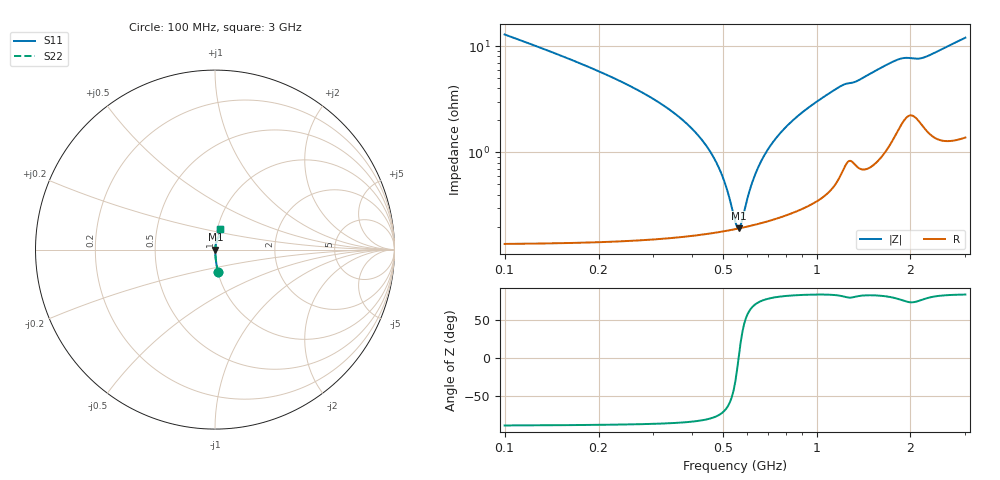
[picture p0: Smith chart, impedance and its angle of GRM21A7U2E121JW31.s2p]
!Murata Part Number: GRM21A7U2E121JW31
!These Parameters are Measured in Series Mode Connection
!Data Generated on Mar 30, 2021
!  o--ll--o
!Port1  Port2
!  o------o
!Operation Temp=25[degC], DC Bias Voltage=0[V]
!Freq. Start=100[MHz] Stop=3[GHz] 401[Steps]
# Hz S RI R 50
!Freq.(Hz) S11(Real) S11(Imag) S21(Real) S21(Imag) S12(Real) S12(Imag) S22(Real) S22(Imag)
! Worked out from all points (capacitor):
!   401 points, 100 MHz to 3 GHz, reference 50 ohm
!   read as one part in series: C = 120 pF near 114.5 MHz
!   lowest |Z| = 193 mohm at 564 MHz (marker M1)
!   series resonance near 562.5 MHz, so ESL is about 670 pH
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1e8  0.0175 -0.126  0.9825 0.126  0.9825 0.126  0.0175 -0.126
2.16e8  0.00417 -0.0521  0.9958 0.0521  0.9958 0.0521  0.00417 -0.0521
3.61e8  0.00205 -0.0216  0.9979 0.0216  0.9979 0.0216  0.00205 -0.0216
4.335e8  0.00184 -0.0124  0.9982 0.0124  0.9982 0.0124  0.00184 -0.0124
4.915e8  0.00182 -0.0064  0.9982 0.0064  0.9982 0.0064  0.00182 -0.0064
5.1325e8  0.00184 -0.00434  0.9982 0.00434  0.9982 0.00434  0.00184 -0.00434
5.495e8  0.00189 -0.00111  0.9981 0.00111  0.9981 0.00111  0.00189 -0.00111
5.64e8  0.00192 0.000123  0.9981 -0.000123  0.9981 -0.000123  0.00192 0.000123
5.8575e8  0.00197 0.00192  0.998 -0.00192  0.998 -0.00192  0.00197 0.00192
6.1475e8  0.00205 0.00422  0.9979 -0.00422  0.9979 -0.00422  0.00205 0.00422
6.4375e8  0.00214 0.00642  0.9979 -0.00642  0.9979 -0.00642  0.00214 0.00642
6.8e8  0.00228 0.00907  0.9977 -0.00907  0.9977 -0.00907  0.00228 0.00907
7.3075e8  0.00249 0.0126  0.9975 -0.0126  0.9975 -0.0126  0.00249 0.0126
8.685e8  0.00326 0.0215  0.9967 -0.0215  0.9967 -0.0215  0.00326 0.0215
1.0715e9  0.00512 0.0338  0.9949 -0.0338  0.9949 -0.0338  0.00512 0.0338
1.20925e9  0.00826 0.0416  0.9917 -0.0416  0.9917 -0.0416  0.00826 0.0416
1.55e9  0.0112 0.0572  0.9888 -0.0572  0.9888 -0.0572  0.0112 0.0572
1.83275e9  0.0212 0.0705  0.9788 -0.0705  0.9788 -0.0705  0.0212 0.0705
2.03575e9  0.0266 0.0697  0.9734 -0.0697  0.9734 -0.0697  0.0266 0.0697
2.19525e9  0.0226 0.0727  0.9774 -0.0727  0.9774 -0.0727  0.0226 0.0727
2.5215e9  0.0209 0.0894  0.9791 -0.0894  0.9791 -0.0894  0.0209 0.0894
3e9  0.027 0.1142  0.973 -0.1142  0.973 -0.1142  0.027 0.1142
